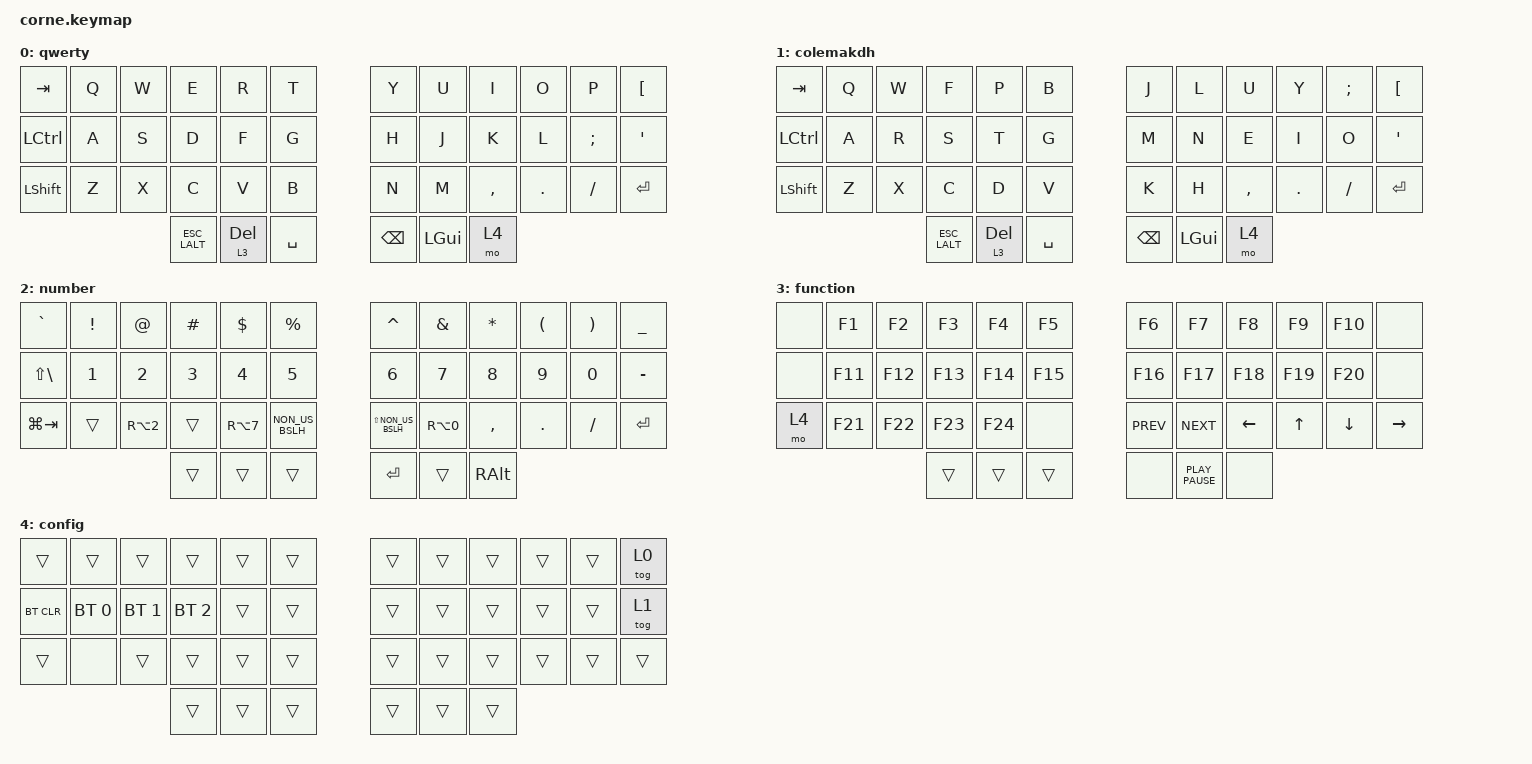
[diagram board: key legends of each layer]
/*
 * Copyright (c) 2020 The ZMK Contributors
 *
 * SPDX-License-Identifier: MIT
 */

#include <behaviors.dtsi>
#include <dt-bindings/zmk/bt.h>
#include <dt-bindings/zmk/keys.h>

/ {
    behaviors {
        ESC_LALT: ESC_LALT {
            compatible = "zmk,behavior-tap-dance";
            label = "ESC_LALT";
            #binding-cells = <0>;
            bindings = <&kp ESC>, <&kp LALT>;
        };
    };

    macros {
        ALFA: ALFA {
            compatible = "zmk,behavior-macro";
            #binding-cells = <0>;
            bindings = <&kp RA(N2)>;
            label = "ALFA";
        };
    };

    keymap {
        compatible = "zmk,keymap";

        qwerty {
            bindings = <
&kp TAB    &kp Q  &kp W  &kp E      &kp R      &kp T        &kp Y     &kp U     &kp I      &kp O    &kp P     &kp LBKT
&kp LCTRL  &kp A  &kp S  &kp D      &kp F      &kp G        &kp H     &kp J     &kp K      &kp L    &kp SEMI  &kp SQT
&kp LSHFT  &kp Z  &kp X  &kp C      &kp V      &kp B        &kp N     &kp M     &kp COMMA  &kp DOT  &kp FSLH  &kp RET
                         &ESC_LALT  &lt 3 DEL  &kp SPACE    &kp BSPC  &kp LGUI  &mo 4
            >;
        };

        colemakdh {
            bindings = <
&kp TAB    &kp Q  &kp W  &kp F      &kp P      &kp B        &kp J     &kp L     &kp U      &kp Y    &kp SEMI  &kp LBKT
&kp LCTRL  &kp A  &kp R  &kp S      &kp T      &kp G        &kp M     &kp N     &kp E      &kp I    &kp O     &kp SQT
&kp LSHFT  &kp Z  &kp X  &kp C      &kp D      &kp V        &kp K     &kp H     &kp COMMA  &kp DOT  &kp FSLH  &kp RET
                         &ESC_LALT  &lt 3 DEL  &kp SPACE    &kp BSPC  &kp LGUI  &mo 4
            >;
        };

        number {
            bindings = <
&kp GRAVE          &kp EXCL  &kp AT            &kp HASH  &kp DLLR          &kp PRCNT          &kp CARET            &kp AMPS    &kp STAR   &kp LPAR  &kp RPAR   &kp UNDERSCORE
&kp LS(BACKSLASH)  &kp N1    &kp N2            &kp N3    &kp N4            &kp N5             &kp N6               &kp N7      &kp N8     &kp N9    &kp N0     &kp MINUS
&kp LG(TAB)        &trans    &kp RA(NUMBER_2)  &trans    &kp RA(NUMBER_7)  &kp NON_US_BSLH    &kp LS(NON_US_BSLH)  &kp RA(N0)  &kp COMMA  &kp DOT   &kp SLASH  &kp ENTER
                                               &trans    &trans            &trans             &kp RET              &trans      &kp RALT
            >;
        };

        function {
            bindings = <
&none  &kp F1   &kp F2   &kp F3   &kp F4   &kp F5     &kp F6      &kp F7            &kp F8    &kp F9   &kp F10   &none
&none  &kp F11  &kp F12  &kp F13  &kp F14  &kp F15    &kp F16     &kp F17           &kp F18   &kp F19  &kp F20   &none
&mo 4  &kp F21  &kp F22  &kp F23  &kp F24  &none      &kp K_PREV  &kp K_NEXT        &kp LEFT  &kp UP   &kp DOWN  &kp RIGHT
                         &trans   &trans   &trans     &none       &kp K_PLAY_PAUSE  &none
            >;
        };

        config {
            bindings = <
&trans      &trans        &trans        &trans        &trans  &trans    &trans  &trans  &trans  &trans  &trans  &tog 0
&bt BT_CLR  &bt BT_SEL 0  &bt BT_SEL 1  &bt BT_SEL 2  &trans  &trans    &trans  &trans  &trans  &trans  &trans  &tog 1
&trans      &none         &trans        &trans        &trans  &trans    &trans  &trans  &trans  &trans  &trans  &trans
                                        &trans        &trans  &trans    &trans  &trans  &trans
            >;
        };
    };
};
